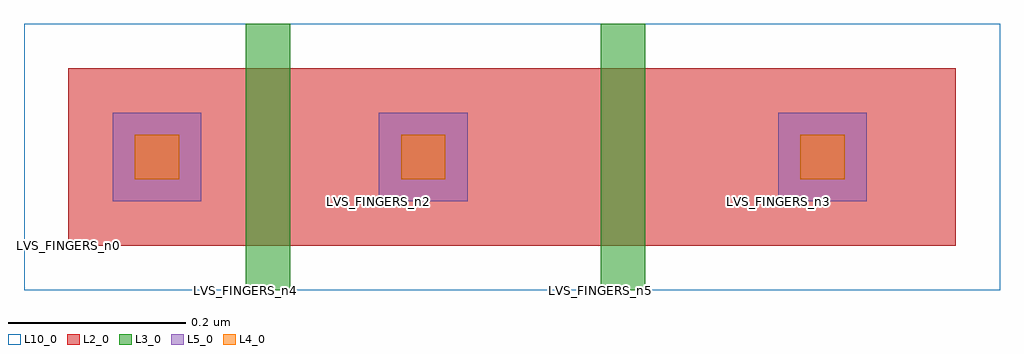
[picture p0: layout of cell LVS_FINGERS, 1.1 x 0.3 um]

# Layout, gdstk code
import gdstk
lib = gdstk.Library(unit=1e-6, precision=1e-09)
def R(c, l, rs):  # rectangles x0, y0, x1, y1
    for r in rs: c.add(gdstk.rectangle(r[:2], r[2:], *l))
L2_0 = (2, 0)
L3_0 = (3, 0)
L4_0 = (4, 0)
L5_0 = (5, 0)
L10_0 = (10, 0)

lvs_fingers = lib.new_cell('LVS_FINGERS')
R(lvs_fingers, L2_0, [(0,0,1,0.2)])
R(lvs_fingers, L3_0, [(0.2,-0.05,0.25,0.25), (0.6,-0.05,0.65,0.25)])
R(lvs_fingers, L4_0, [(0.075,0.075,0.125,0.125), (0.375,0.075,0.425,0.125), (0.825,0.075,0.875,0.125)])
R(lvs_fingers, L5_0, [(0.05,0.05,0.15,0.15), (0.35,0.05,0.45,0.15), (0.8,0.05,0.9,0.15)])
R(lvs_fingers, L10_0, [(-0.05,-0.05,1.05,0.25)])
lvs_fingers.add(gdstk.Label('LVS_FINGERS_n0', (0,0), layer=2, texttype=5))
lvs_fingers.add(gdstk.Label('LVS_FINGERS_n2', (0.35,0.05), layer=5, texttype=5))
lvs_fingers.add(gdstk.Label('LVS_FINGERS_n3', (0.8,0.05), layer=5, texttype=5))
lvs_fingers.add(gdstk.Label('LVS_FINGERS_n4', (0.2,-0.05), layer=3, texttype=5))
lvs_fingers.add(gdstk.Label('LVS_FINGERS_n5', (0.6,-0.05), layer=3, texttype=5))

lib.write_gds('LVS_FINGERS.gds')
